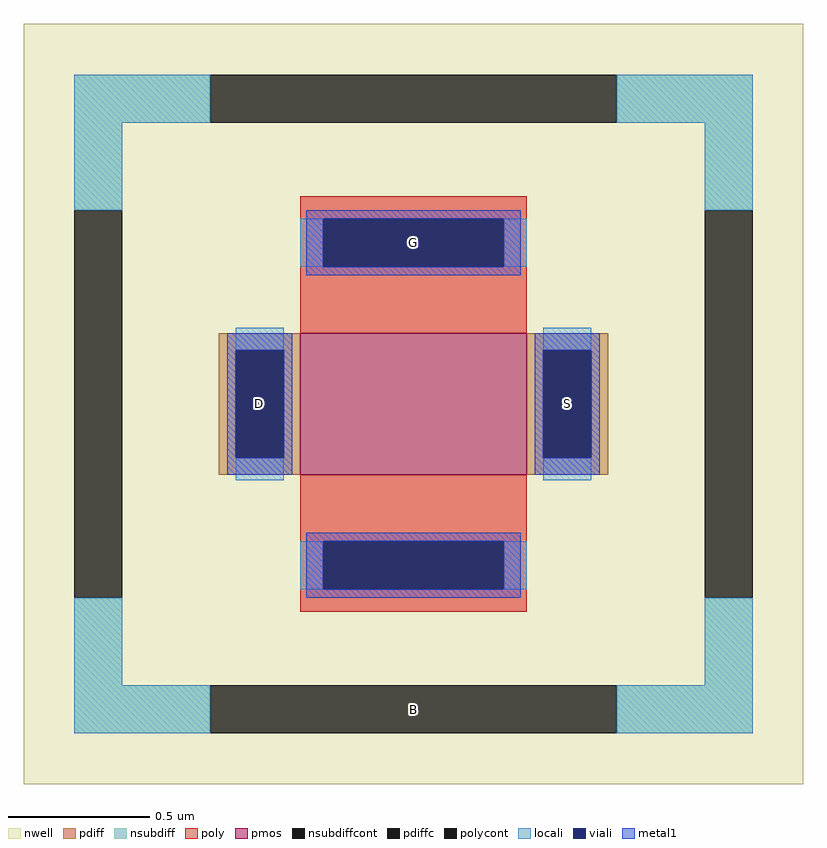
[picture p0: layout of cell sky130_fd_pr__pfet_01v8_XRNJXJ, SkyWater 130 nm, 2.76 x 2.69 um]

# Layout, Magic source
magic
tech sky130A
magscale 1 2
<< nwell >>
rect -276 -269 276 269
<< pmos >>
rect -80 -50 80 50
<< pdiff >>
rect -138 38 -80 50
rect -138 -38 -126 38
rect -92 -38 -80 38
rect -138 -50 -80 -38
rect 80 38 138 50
rect 80 -38 92 38
rect 126 -38 138 38
rect 80 -50 138 -38
<< pdiffc >>
rect -126 -38 -92 38
rect 92 -38 126 38
<< nsubdiff >>
rect -240 199 -144 233
rect 144 199 240 233
rect -240 137 -206 199
rect 206 137 240 199
rect -240 -199 -206 -137
rect 206 -199 240 -137
rect -240 -233 -144 -199
rect 144 -233 240 -199
<< nsubdiffcont >>
rect -144 199 144 233
rect -240 -137 -206 137
rect 206 -137 240 137
rect -144 -233 144 -199
<< poly >>
rect -80 131 80 147
rect -80 97 -64 131
rect 64 97 80 131
rect -80 50 80 97
rect -80 -97 80 -50
rect -80 -131 -64 -97
rect 64 -131 80 -97
rect -80 -147 80 -131
<< polycont >>
rect -64 97 64 131
rect -64 -131 64 -97
<< locali >>
rect -240 199 -144 233
rect 144 199 240 233
rect -240 137 -206 199
rect 206 137 240 199
rect -80 97 -64 131
rect 64 97 80 131
rect -126 38 -92 54
rect -126 -54 -92 -38
rect 92 38 126 54
rect 92 -54 126 -38
rect -80 -131 -64 -97
rect 64 -131 80 -97
rect -240 -199 -206 -137
rect 206 -199 240 -137
rect -240 -233 -144 -199
rect 144 -233 240 -199
<< viali >>
rect -64 97 64 131
rect -126 -38 -92 38
rect 92 -38 126 38
rect -64 -131 64 -97
<< metal1 >>
rect -76 131 76 137
rect -76 97 -64 131
rect 64 97 76 131
rect -76 91 76 97
rect -132 38 -86 50
rect -132 -38 -126 38
rect -92 -38 -86 38
rect -132 -50 -86 -38
rect 86 38 132 50
rect 86 -38 92 38
rect 126 -38 132 38
rect 86 -50 132 -38
rect -76 -97 76 -91
rect -76 -131 -64 -97
rect 64 -131 76 -97
rect -76 -137 76 -131
<< labels >>
rlabel nsubdiffcont 0 -216 0 -216 0 B
port 1 nsew
rlabel pdiffc -109 0 -109 0 0 D
port 2 nsew
rlabel pdiffc 109 0 109 0 0 S
port 3 nsew
rlabel polycont 0 114 0 114 0 G
port 4 nsew
<< properties >>
string FIXED_BBOX -223 -216 223 216
string gencell sky130_fd_pr__pfet_01v8
string library sky130
string parameters w 0.5 l 0.8 m 1 nf 1 diffcov 100 polycov 100 guard 1 glc 1 grc 1 gtc 1 gbc 1 tbcov 100 rlcov 100 topc 1 botc 1 poverlap 0 doverlap 1 lmin 0.15 wmin 0.42 class mosfet compatible {sky130_fd_pr__pfet_01v8  sky130_fd_pr__pfet_01v8_lvt sky130_fd_pr__pfet_01v8_hvt  sky130_fd_pr__pfet_g5v0d10v5} full_metal 1 conn_gates 0 viasrc 100 viadrn 100 viagate 100 viagb 0 viagr 0 viagl 0 viagt 0 doports 1
<< end >>
